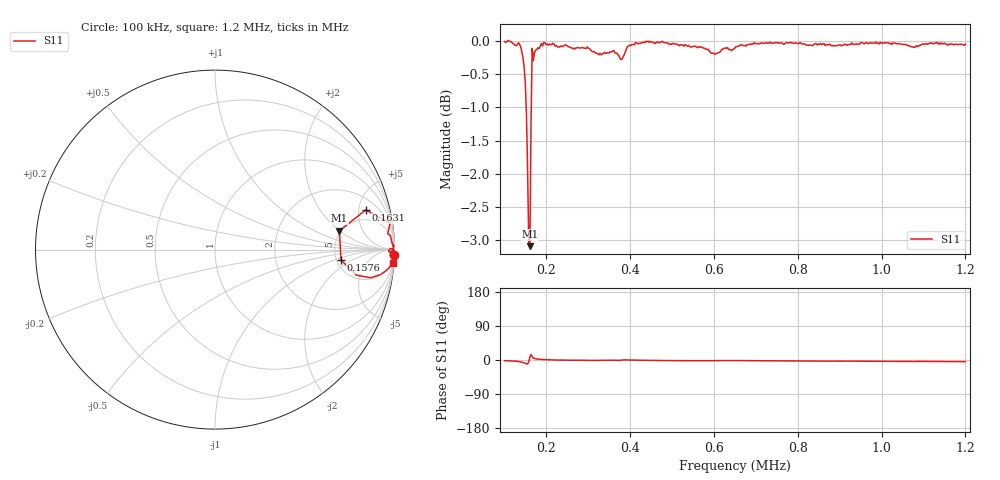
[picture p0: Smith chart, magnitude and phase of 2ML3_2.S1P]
!Agilent Technologies,E5071C,MY46100265,A.07.02
!Date: Wed Mar 04 14:55:00 2020
!Data & Calibration Information:
!Freq	S11:SOLT1(ON)
# Hz S MA R 50
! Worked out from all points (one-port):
!   402 points, 100 kHz to 1.2 MHz, reference 50 ohm
!   lowest |S11| = -3.1 dB at 160.3 kHz (marker M1), VSWR 5.69, Z = 242 + j99.6 ohm
!   |S11| at or under -10 dB: nowhere
!   S11 on the Smith chart (normalised r, x): 100 kHz: 3, -63; 157.6 kHz: 5.46, -1.26; 163.1 kHz: 3.30, +5.92; 1.2 MHz: 2, -27
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100000  0.9983 -1.8
127431  0.9913 -3.1
141147  0.981 -5.5
146633  0.9554 -7.3
149377  0.9296 -8.7
152120  0.8815 -10.3
154863  0.8015 -10.2
157606  0.7042 -4.7
160349  0.7009 8.6
163092  0.868 14.7
165835  0.9867 8.6
168579  0.9659 5.2
171322  0.9796 4.6
176808  0.9849 2.7
187781  0.9949 1.1
215212  0.9955 0.1
239900  0.9898 -0.3
305736  0.9836 -1.0
377057  0.9683 -0.5
388030  0.9806 0.4
409975  0.9927 -0.4
514214  0.9935 -1.7
599252  0.9781 -1.8
651372  0.9892 -1.4
788529  0.9957 -2.5
925686  0.9938 -3.0
1062843  0.9919 -3.9
1200000  0.9941 -4.3
